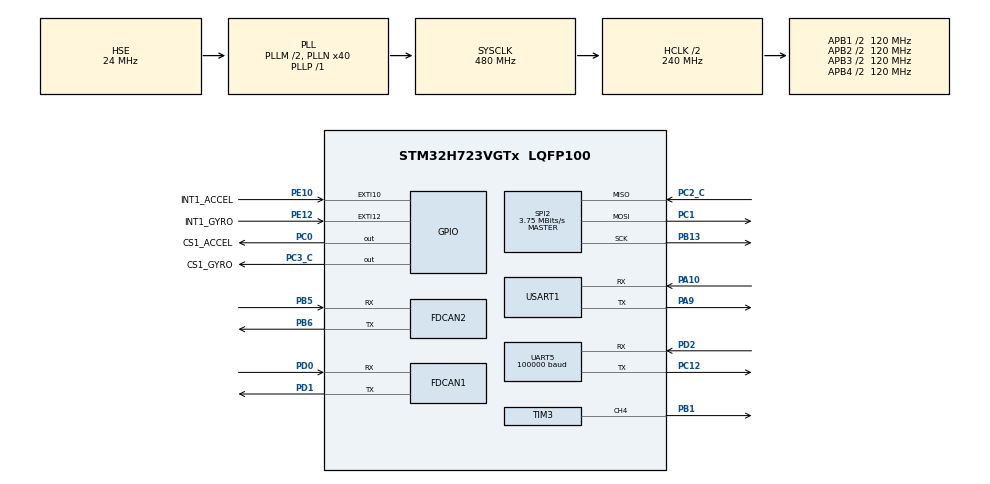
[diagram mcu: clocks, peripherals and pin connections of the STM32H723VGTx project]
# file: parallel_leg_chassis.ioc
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CORTEX_M7.default_mode_Activation=0
Dma.Request0=UART5_RX
Dma.Request1=USART1_RX
Dma.Request2=USART1_TX
Dma.UART5_RX.0.Direction=DMA_PERIPH_TO_MEMORY
Dma.UART5_RX.0.EventEnable=DISABLE
Dma.UART5_RX.0.FIFOMode=DMA_FIFOMODE_DISABLE
Dma.UART5_RX.0.Instance=DMA1_Stream3
Dma.UART5_RX.0.MemDataAlignment=DMA_MDATAALIGN_BYTE
Dma.UART5_RX.0.MemInc=DMA_MINC_ENABLE
Dma.UART5_RX.0.Mode=DMA_NORMAL
Dma.UART5_RX.0.PeriphDataAlignment=DMA_PDATAALIGN_BYTE
Dma.UART5_RX.0.PeriphInc=DMA_PINC_DISABLE
Dma.UART5_RX.0.Polarity=HAL_DMAMUX_REQ_GEN_RISING
Dma.UART5_RX.0.Priority=DMA_PRIORITY_VERY_HIGH
Dma.UART5_RX.0.RequestNumber=1
Dma.UART5_RX.0.SignalID=NONE
Dma.UART5_RX.0.SyncEnable=DISABLE
Dma.UART5_RX.0.SyncPolarity=HAL_DMAMUX_SYNC_NO_EVENT
Dma.UART5_RX.0.SyncRequestNumber=1
Dma.UART5_RX.0.SyncSignalID=NONE
Dma.USART1_RX.1.Direction=DMA_PERIPH_TO_MEMORY
Dma.USART1_RX.1.EventEnable=DISABLE
Dma.USART1_RX.1.FIFOMode=DMA_FIFOMODE_DISABLE
Dma.USART1_RX.1.Instance=DMA1_Stream1
Dma.USART1_RX.1.MemDataAlignment=DMA_MDATAALIGN_BYTE
Dma.USART1_RX.1.MemInc=DMA_MINC_ENABLE
Dma.USART1_RX.1.Mode=DMA_NORMAL
Dma.USART1_RX.1.PeriphDataAlignment=DMA_PDATAALIGN_BYTE
Dma.USART1_RX.1.PeriphInc=DMA_PINC_DISABLE
Dma.USART1_RX.1.Polarity=HAL_DMAMUX_REQ_GEN_RISING
Dma.USART1_RX.1.Priority=DMA_PRIORITY_MEDIUM
Dma.USART1_RX.1.RequestNumber=1
Dma.USART1_RX.1.SignalID=NONE
Dma.USART1_RX.1.SyncEnable=DISABLE
Dma.USART1_RX.1.SyncPolarity=HAL_DMAMUX_SYNC_NO_EVENT
Dma.USART1_RX.1.SyncRequestNumber=1
Dma.USART1_RX.1.SyncSignalID=NONE
Dma.USART1_TX.2.Direction=DMA_MEMORY_TO_PERIPH
Dma.USART1_TX.2.EventEnable=DISABLE
Dma.USART1_TX.2.FIFOMode=DMA_FIFOMODE_DISABLE
Dma.USART1_TX.2.Instance=DMA1_Stream2
Dma.USART1_TX.2.MemDataAlignment=DMA_MDATAALIGN_BYTE
Dma.USART1_TX.2.MemInc=DMA_MINC_ENABLE
Dma.USART1_TX.2.Mode=DMA_NORMAL
Dma.USART1_TX.2.PeriphDataAlignment=DMA_PDATAALIGN_BYTE
Dma.USART1_TX.2.PeriphInc=DMA_PINC_DISABLE
Dma.USART1_TX.2.Polarity=HAL_DMAMUX_REQ_GEN_RISING
Dma.USART1_TX.2.Priority=DMA_PRIORITY_MEDIUM
Dma.USART1_TX.2.RequestNumber=1
Dma.USART1_TX.2.SignalID=NONE
Dma.USART1_TX.2.SyncEnable=DISABLE
Dma.USART1_TX.2.SyncPolarity=HAL_DMAMUX_SYNC_NO_EVENT
Dma.USART1_TX.2.SyncRequestNumber=1
Dma.USART1_TX.2.SyncSignalID=NONE
FDCAN1.AutoRetransmission=ENABLE
FDCAN1.CalculateBaudRateNominal=1000000
FDCAN1.CalculateTimeBitNominal=1000
FDCAN1.CalculateTimeQuantumNominal=25.0
FDCAN1.DataPrescaler=3
FDCAN1.DataSyncJumpWidth=10
FDCAN1.DataTimeSeg1=29
FDCAN1.DataTimeSeg2=10
FDCAN1.ExtFiltersNbr=4
FDCAN1.NominalPrescaler=3
FDCAN1.NominalSyncJumpWidth=10
FDCAN1.NominalTimeSeg1=29
FDCAN1.NominalTimeSeg2=10
FDCAN1.ProtocolException=ENABLE
FDCAN1.RxBuffersNbr=2
FDCAN1.RxFifo0ElmtsNbr=8
FDCAN1.RxFifo1ElmtsNbr=8
FDCAN1.StdFiltersNbr=4
FDCAN1.TxBuffersNbr=8
FDCAN1.TxEventsNbr=8
FDCAN1.TxFifoQueueElmtsNbr=8
FDCAN2.AutoRetransmission=ENABLE
FDCAN2.CalculateBaudRateNominal=1000000
FDCAN2.CalculateTimeBitNominal=1000
FDCAN2.CalculateTimeQuantumNominal=25.0
FDCAN2.DataPrescaler=3
FDCAN2.DataSyncJumpWidth=10
FDCAN2.DataTimeSeg1=29
FDCAN2.DataTimeSeg2=10
FDCAN2.ExtFiltersNbr=4
FDCAN2.MessageRAMOffset=853
FDCAN2.NominalPrescaler=3
FDCAN2.NominalSyncJumpWidth=10
FDCAN2.NominalTimeSeg1=29
FDCAN2.NominalTimeSeg2=10
FDCAN2.ProtocolException=ENABLE
FDCAN2.RxBuffersNbr=2
FDCAN2.RxFifo0ElmtsNbr=8
FDCAN2.RxFifo1ElmtsNbr=8
FDCAN2.StdFiltersNbr=4
FDCAN2.TxBuffersNbr=8
FDCAN2.TxEventsNbr=8
FDCAN2.TxFifoQueueElmtsNbr=8
Mcu.Family=STM32H7
Mcu.Name=STM32H723VGTx
Mcu.Package=LQFP100
NVIC.DMA1_Stream1_IRQn=true\:0\:0\:false\:false\:true\:false\:true\:true
NVIC.DMA1_Stream2_IRQn=true\:0\:0\:false\:false\:true\:false\:true\:true
NVIC.DMA1_Stream3_IRQn=true\:0\:0\:false\:false\:true\:false\:true\:true
NVIC.FDCAN1_IT0_IRQn=true\:0\:0\:false\:false\:true\:true\:true\:true
NVIC.FDCAN1_IT1_IRQn=true\:0\:0\:false\:false\:true\:true\:true\:true
NVIC.FDCAN2_IT0_IRQn=true\:0\:0\:false\:false\:true\:true\:true\:true
NVIC.FDCAN2_IT1_IRQn=true\:0\:0\:false\:false\:true\:true\:true\:true
NVIC.PriorityGroup=NVIC_PRIORITYGROUP_4
NVIC.TIM2_IRQn=true\:15\:0\:false\:false\:true\:false\:true\:true
NVIC.TimeBase=TIM2_IRQn
NVIC.TimeBaseIP=TIM2
NVIC.UART5_IRQn=true\:0\:0\:false\:false\:true\:true\:true\:true
NVIC.USART1_IRQn=true\:5\:0\:true\:false\:true\:true\:true\:true
PA10.Mode=Asynchronous
PA10.Signal=USART1_RX
PA9.Mode=Asynchronous
PA9.Signal=USART1_TX
PB1.GPIO_Speed=GPIO_SPEED_FREQ_HIGH
PB1.Signal=S_TIM3_CH4
PB13.GPIO_Speed=GPIO_SPEED_FREQ_MEDIUM
PB13.Mode=Full_Duplex_Master
PB13.Signal=SPI2_SCK
PB5.Mode=FDCAN_Activate
PB5.Signal=FDCAN2_RX
PB6.Mode=FDCAN_Activate
PB6.Signal=FDCAN2_TX
PC0.GPIO_Label=CS1_ACCEL
PC0.GPIO_PuPd=GPIO_NOPULL
PC0.GPIO_Speed=GPIO_SPEED_FREQ_VERY_HIGH
PC0.PinState=GPIO_PIN_SET
PC0.Signal=GPIO_Output
PC1.GPIO_Speed=GPIO_SPEED_FREQ_MEDIUM
PC1.Mode=Full_Duplex_Master
PC1.Signal=SPI2_MOSI
PC12.Mode=Asynchronous
PC12.Signal=UART5_TX
PC2_C.GPIO_Speed=GPIO_SPEED_FREQ_MEDIUM
PC2_C.Mode=Full_Duplex_Master
PC2_C.Signal=SPI2_MISO
PC3_C.GPIO_Label=CS1_GYRO
PC3_C.GPIO_PuPd=GPIO_NOPULL
PC3_C.GPIO_Speed=GPIO_SPEED_FREQ_VERY_HIGH
PC3_C.PinState=GPIO_PIN_SET
PC3_C.Signal=GPIO_Output
PD0.GPIO_Speed=GPIO_SPEED_FREQ_VERY_HIGH
PD0.Mode=FDCAN_Activate
PD0.Signal=FDCAN1_RX
PD1.GPIO_Speed=GPIO_SPEED_FREQ_VERY_HIGH
PD1.Mode=FDCAN_Activate
PD1.Signal=FDCAN1_TX
PD2.Mode=Asynchronous
PD2.Signal=UART5_RX
PE10.GPIO_Label=INT1_ACCEL
PE10.GPIO_PuPd=GPIO_PULLUP
PE10.Signal=GPXTI10
PE12.GPIO_Label=INT1_GYRO
PE12.GPIO_PuPd=GPIO_PULLUP
PE12.Signal=GPXTI12
PH0-OSC_IN.Mode=HSE-External-Oscillator
PH0-OSC_IN.Signal=RCC_OSC_IN
PH1-OSC_OUT.Mode=HSE-External-Oscillator
PH1-OSC_OUT.Signal=RCC_OSC_OUT
ProjectManager.HeapSize=0x200
ProjectManager.StackSize=0x400
ProjectManager.TargetToolchain=CMake
RCC.ADCFreq_Value=48375000
RCC.APB1Freq_Value=120000000
RCC.APB2Freq_Value=120000000
RCC.APB3Freq_Value=120000000
RCC.APB4Freq_Value=120000000
RCC.CortexFreq_Value=480000000
RCC.D1PPRE=RCC_APB3_DIV2
RCC.D2PPRE1=RCC_APB1_DIV2
RCC.D2PPRE2=RCC_APB2_DIV2
RCC.D3PPRE=RCC_APB4_DIV2
RCC.DIVM1=2
RCC.DIVN1=40
RCC.DIVP1=1
RCC.DIVQ1=4
RCC.HCLKFreq_Value=240000000
RCC.HPRE=RCC_HCLK_DIV2
RCC.HSE_VALUE=24000000
RCC.PLLFRACN=0
RCC.PLLSourceVirtual=RCC_PLLSOURCE_HSE
RCC.SYSCLKFreq_VALUE=480000000
RCC.SYSCLKSource=RCC_SYSCLKSOURCE_PLLCLK
RCC.USBFreq_Value=120000000
SH.S_TIM3_CH4.0=TIM3_CH4,PWM Generation4 CH4
SPI2.BaudRatePrescaler=SPI_BAUDRATEPRESCALER_32
SPI2.CLKPhase=SPI_PHASE_2EDGE
SPI2.CLKPolarity=SPI_POLARITY_HIGH
SPI2.CalculateBaudRate=3.75 MBits/s
SPI2.DataSize=SPI_DATASIZE_8BIT
SPI2.Direction=SPI_DIRECTION_2LINES
SPI2.Mode=SPI_MODE_MASTER
SPI2.VirtualType=VM_MASTER
STMicroelectronics.X-CUBE-ALGOBUILD.1.3.0.LibraryCcDSPOoLibraryJjDSPOoLibrary=true
TIM3.Channel-PWM\ Generation4\ CH4=TIM_CHANNEL_4
TIM3.Period=9999
TIM3.Prescaler=23
UART5.BaudRate=100000
UART5.Mode=MODE_RX
UART5.Parity=PARITY_EVEN
UART5.StopBits=UART_STOPBITS_2
UART5.WordLength=WORDLENGTH_9B
USART1.VirtualMode-Asynchronous=VM_ASYNC
VP_MEMORYMAP_VS_MEMORYMAP.Mode=CurAppReg
VP_STMicroelectronics.X-CUBE-ALGOBUILD_VS_DSPOoLibraryJjLibrary_1.3.0_1.3.0.Mode=DSPOoLibraryJjLibrary
VP_SYS_VS_tim2.Mode=TIM2
VP_TIM3_VS_ClockSourceINT.Mode=Internal
board=custom

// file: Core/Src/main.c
/* USER CODE BEGIN Header */
/**
  ******************************************************************************
  * @file           : main.c
  * @brief          : Main program body
  ******************************************************************************
  * @attention
  *
  * Copyright (c) 2025 STMicroelectronics.
  * All rights reserved.
  *
  * This software is licensed under terms that can be found in the LICENSE file
  * in the root directory of this software component.
  * If no LICENSE file comes with this software, it is provided AS-IS.
  *
  ******************************************************************************
  */
/* USER CODE END Header */
#include "main.h"
#include "dma.h"
#include "fdcan.h"
#include "spi.h"
#include "tim.h"
#include "usart.h"
#include "gpio.h"

/* USER CODE BEGIN Includes */
#include <string.h>
#include "bsp_uart.h"
#include "bsp_can.h"
#include "bsp_dwt.h"
#include "pid.h"
#include "dji_motor_ctrl.h"
#include "dm_motor_ctrl.h"
#include "imu_task.h"
#include "chassis_ctrl.h"
#include "remote_ctrl.h"

/* USER CODE END Includes */

/* USER CODE BEGIN PTD */
extern float gyro[3], accel[3], temp;

/* USER CODE END PTD */

void SystemClock_Config(void);

/* USER CODE BEGIN 0 */
float dt = 0.001f;
uint32_t main_count = 0;
uint32_t main_dwt_count = 0;
uint32_t imu_count = 0;
uint32_t imu_dwt_count = 0;
float task_time = 0;
float wait_time = 0;
float imu_task_time = 0;
float imu_wait_time = 0;

double l_phi1;
double l_phi2;
double r_phi1;
double r_phi2;
double l_d_phi1;
double l_d_phi2;
double r_d_phi1;
double r_d_phi2;
double l_t1;
double l_t2;
double r_t1;
double r_t2;

double last_lws;
double last_rws;
double s;

float vel_cmd;
float yaw_cmd;
float roll_cmd;
float leg_length_cmd;
uint8_t enable_cmd;
uint8_t state_cmd;

void uart1_callback_function()
{
  bsp_uart_send(&huart1, UART1_Rx_Buff, 256);
}

void uart5_callback_function()
{
  rc_ctrl_fbdata(&rc_ctrl, UART5_Rx_Buff);
}
/* USER CODE END 0 */

int main(void)
{

  /* MCU Configuration--------------------------------------------------------*/

  /* Reset of all peripherals, Initializes the Flash interface and the Systick. */
  HAL_Init();

  /* Configure the system clock */
  SystemClock_Config();

  /* Initialize all configured peripherals */
  MX_GPIO_Init();
  MX_DMA_Init();
  MX_FDCAN1_Init();
  MX_UART5_Init();
  MX_USART1_UART_Init();
  MX_SPI2_Init();
  MX_FDCAN2_Init();
  MX_TIM3_Init();
  /* USER CODE BEGIN 2 */
  DWT_Init(480);
  bsp_uart_init(&huart1, UART1_Rx_Buff, 256, uart1_callback_function);
  bsp_uart_init(&huart5, UART5_Rx_Buff, 256, uart5_callback_function);
  UART1_Tx_Data[0] = 0xAB;
  BMI088_init();
  bsp_can_init();
  INS_init();
  leg_controller_init(&leg_l, &leg_r, &leg_jl, &leg_jr, &k);
  // 机体速度预测，打滑检测
  velocity_kf_init(1.0f, 5000.0f, 100.0f);

  DM8009_init(&DM8009_1, &hfdcan1, TO4_MODE, 0x3FE, 0x301, -2.0795648111053424, 0.01, 1);
  DM8009_init(&DM8009_2, &hfdcan1, TO4_MODE, 0x3FE, 0x302, -2.1555061302862457, 0.01, 2);
  DM8009_init(&DM8009_3, &hfdcan1, TO4_MODE, 0x3FE, 0x303, -1.0547405441792126, 0.01, 3);
  DM8009_init(&DM8009_4, &hfdcan1, TO4_MODE, 0x3FE, 0x304, -2.0511827019165203, 0.01, 4);
  M3508_init(&M3508_1, 1, 268.0 / 17.0, 0.02, 5);
  M3508_init(&M3508_2, 2, 268.0 / 17.0, 0.02, 6);
  rc_ctrl_init(&rc_ctrl, 0.3, 7);

  // 等待imu温度达到目标
  while (imu_count < 10000)
  {
    imu_temp_ctrl(40.0f);
    if (temp >= 40.0f)
      imu_count ++;
    imu_task_time = DWT_GetDeltaT(&imu_dwt_count);
    imu_wait_time = dt - imu_task_time;
    DWT_Delay(imu_wait_time);
  }

  /* USER CODE END 2 */

  /* Infinite loop */
  while (1)
  {

    /* USER CODE BEGIN 3 */
    // 1000Hz循环
    DWT_GetDeltaT(&main_dwt_count);

    // 接收遥控器命令
    state_cmd = rc_ctrl.rc.s[0];  // 右拨杆s2
    enable_cmd = rc_ctrl.rc.s[1]; // 左拨杆s1

    vel_cmd = rc_ctrl.rc.ch[3] * 0.01f;
    if (vel_cmd > 5.0f)
      vel_cmd = 5.0f;
    else if (vel_cmd < - 5.0f)
      vel_cmd = - 5.0f;

    //左腿路程计算
    double lws = M3508_1.m.para.pos_fb;
    double delta_lws = lws - last_lws;
    //跨越编码器零点处理
    if (delta_lws < -PI)
      delta_lws += 2 * PI;
    else if (delta_lws > PI)
      delta_lws -= 2 * PI;
    double delta_ls = - delta_lws / (M3508_1.speed_ratio) * rw;
    last_lws = lws;
    //右腿路程计算
    double rws = M3508_2.m.para.pos_fb;
    double delta_rws = rws - last_rws;
    //跨越编码器零点处理
    if (delta_rws < -PI)
      delta_rws += 2 * PI;
    else if (delta_rws > PI)
      delta_rws -= 2 * PI;
    double delta_rs = delta_rws / (M3508_2.speed_ratio) * rw;
    last_rws = rws;
    s = (delta_ls + delta_rs) / 2;

    yaw_cmd = - rc_ctrl.rc.ch[0] * 0.02f;
    if (yaw_cmd > 8.0f)
      yaw_cmd = 8.0f;
    else if (yaw_cmd < - 8.0f)
      yaw_cmd = - 8.0f;

    leg_length_cmd = rc_ctrl.rc.ch[1] * 0.0005f;
    if (leg_length_cmd > 0.15f)
      leg_length_cmd = 0.15f;
    else if (leg_length_cmd < -0.08f)
      leg_length_cmd = -0.08f;

    roll_cmd = rc_ctrl.rc.ch[2] * 0.001f;
    if (roll_cmd > 0.5f)
      roll_cmd = 0.5f;
    else if (roll_cmd < -0.5f)
      roll_cmd = -0.5f;

    rc_ctrl_refresh(&rc_ctrl);

    // 关节电机反馈数据处理
    l_phi1 = (5.0f * PI / 4.0f) - DM8009_1.m.para.pos_fb;
    l_phi2 = (5.0f * PI / 4.0f) + DM8009_2.m.para.pos_fb;
    r_phi1 = (5.0f * PI / 4.0f) + DM8009_3.m.para.pos_fb;
    r_phi2 = (5.0f * PI / 4.0f) - DM8009_4.m.para.pos_fb;
    l_d_phi1 = - DM8009_1.m.para.vel_fb;
    l_d_phi2 = DM8009_2.m.para.vel_fb;
    r_d_phi1 = DM8009_3.m.para.vel_fb;
    r_d_phi2 = - DM8009_4.m.para.vel_fb;
    l_t1 = - DM8009_1.m.para.tor_fb;
    l_t2 = DM8009_2.m.para.tor_fb;
    r_t1 = DM8009_3.m.para.tor_fb;
    r_t2 = - DM8009_4.m.para.tor_fb;

    // 姿态解算
    imu_task(dt);
    // 腿部运动学、支持力解算与机体速度卡尔曼滤波
    plc_obs(l_phi1, l_phi2, r_phi1, r_phi2, l_d_phi1, l_d_phi2, r_d_phi1, r_d_phi2, l_t1, l_t2, r_t1, r_t2, dt);

    k.Xd_data[1] = vel_cmd;
    k.Xd_data[2] += yaw_cmd * dt;
    k.Xd_data[3] = yaw_cmd;

    switch (enable_cmd)
    {
      // 左拨杆：上1 中3 下2
      case 1:
        plc_handler3(&leg_l, &leg_r, &leg_tl, &leg_tr, &leg_jl, &leg_jr);
        break;
      case 3:
        switch (state_cmd)
        {
          // 右拨杆：上1 中3 下2
        case 1: // 飞坡模式
            if (leg_l.Fi > - 7.0f || leg_r.Fi > - 7.0f)
              // 离地处理
              plc_handler4(&leg_l, &leg_r, &leg_tl, &leg_tr, &leg_jl, &leg_jr, INS.Roll, dt);
            else
              plc_handler1(&leg_l, &leg_r, &leg_tl, &leg_tr, &leg_jl, &leg_jr, &k,
                          INS.YawTotalAngle, INS.Gyro[2], INS.Roll, INS.Gyro[1], INS.Pitch, INS.Gyro[0], dt);
            break;
        case 3: // 无位移闭环站立模式
            if (leg_l.Fi > - 7.0f || leg_r.Fi > - 7.0f)
              plc_handler4(&leg_l, &leg_r, &leg_tl, &leg_tr, &leg_jl, &leg_jr, INS.Roll, dt);
            else
              plc_handler2(&leg_l, &leg_r, &leg_tl, &leg_tr, &leg_jl, &leg_jr, &k,
                          INS.YawTotalAngle, INS.Gyro[2], INS.Roll, INS.Gyro[1], INS.Pitch, INS.Gyro[0], dt);
            break;
        case 2: // 跳跃模式
            if (leg_l.Fi > - 7.0f || leg_r.Fi > - 7.0f)
              plc_handler5(&leg_l, &leg_r, &leg_tl, &leg_tr, &leg_jl, &leg_jr, INS.Roll, dt);
            else
              plc_handler2(&leg_l, &leg_r, &leg_tl, &leg_tr, &leg_jl, &leg_jr, &k,
                          INS.YawTotalAngle, INS.Gyro[2], INS.Roll, INS.Gyro[1], INS.Pitch, INS.Gyro[0], dt);
            break;
        }
    }

    M3508_cmd_upgrade(&M3508_1, - leg_tl.Tw);
    M3508_cmd_upgrade(&M3508_2, leg_tr.Tw);
    DM8009_cmd_upgrade(&DM8009_1, - leg_tl.T1);
    DM8009_cmd_upgrade(&DM8009_2, leg_tl.T2);
    DM8009_cmd_upgrade(&DM8009_3, leg_tr.T1);
    DM8009_cmd_upgrade(&DM8009_4, - leg_tr.T2);

    dji_motor_cmd_send(0x200, &hfdcan2, M3508_1.m.cmd.cmd_signal, M3508_2.m.cmd.cmd_signal, 0, 0);
    DM8009_send_1to4(0x3FE, &hfdcan1, DM8009_1.m.cmd.cmd_signal, DM8009_2.m.cmd.cmd_signal,
            DM8009_3.m.cmd.cmd_signal, DM8009_4.m.cmd.cmd_signal);

    // for (uint8_t i = 0; i < 4; i++)
    // {
    //     UART1_Tx_Data[i + 1] = *((uint8_t *)&INS.Accel[0] + i);
    //     UART1_Tx_Data[i + 5] = *((uint8_t *)&INS.Accel[1] + i);
    //     UART1_Tx_Data[i + 9] = *((uint8_t *)&INS.Accel[2] + i);
    //     UART1_Tx_Data[i + 13] = *((uint8_t *)&INS.temp + i);
    // }
    // bsp_uart_send(&huart1, UART1_Tx_Data, 17);

    task_time = DWT_GetDeltaT(&main_dwt_count);
    wait_time = dt - task_time;
    main_count ++;
    DWT_Delay(wait_time);
}
  /* USER CODE END 3 */
}

void SystemClock_Config(void)
{
  RCC_OscInitTypeDef RCC_OscInitStruct = {0};
  RCC_ClkInitTypeDef RCC_ClkInitStruct = {0};

  /** Supply configuration update enable
  */
  HAL_PWREx_ConfigSupply(PWR_LDO_SUPPLY);

  /** Configure the main internal regulator output voltage
  */
  __HAL_PWR_VOLTAGESCALING_CONFIG(PWR_REGULATOR_VOLTAGE_SCALE0);

  while(!__HAL_PWR_GET_FLAG(PWR_FLAG_VOSRDY)) {}

  /** Initializes the RCC Oscillators according to the specified parameters
  * in the RCC_OscInitTypeDef structure.
  */
  RCC_OscInitStruct.OscillatorType = RCC_OSCILLATORTYPE_HSE;
  RCC_OscInitStruct.HSEState = RCC_HSE_ON;
  RCC_OscInitStruct.PLL.PLLState = RCC_PLL_ON;
  RCC_OscInitStruct.PLL.PLLSource = RCC_PLLSOURCE_HSE;
  RCC_OscInitStruct.PLL.PLLM = 2;
  RCC_OscInitStruct.PLL.PLLN = 40;
  RCC_OscInitStruct.PLL.PLLP = 1;
  RCC_OscInitStruct.PLL.PLLQ = 4;
  RCC_OscInitStruct.PLL.PLLR = 2;
  RCC_OscInitStruct.PLL.PLLRGE = RCC_PLL1VCIRANGE_3;
  RCC_OscInitStruct.PLL.PLLVCOSEL = RCC_PLL1VCOWIDE;
  RCC_OscInitStruct.PLL.PLLFRACN = 0;
  if (HAL_RCC_OscConfig(&RCC_OscInitStruct) != HAL_OK)
  {
    Error_Handler();
  }

  /** Initializes the CPU, AHB and APB buses clocks
  */
  RCC_ClkInitStruct.ClockType = RCC_CLOCKTYPE_HCLK|RCC_CLOCKTYPE_SYSCLK
                              |RCC_CLOCKTYPE_PCLK1|RCC_CLOCKTYPE_PCLK2
                              |RCC_CLOCKTYPE_D3PCLK1|RCC_CLOCKTYPE_D1PCLK1;
  RCC_ClkInitStruct.SYSCLKSource = RCC_SYSCLKSOURCE_PLLCLK;
  RCC_ClkInitStruct.SYSCLKDivider = RCC_SYSCLK_DIV1;
  RCC_ClkInitStruct.AHBCLKDivider = RCC_HCLK_DIV2;
  RCC_ClkInitStruct.APB3CLKDivider = RCC_APB3_DIV2;
  RCC_ClkInitStruct.APB1CLKDivider = RCC_APB1_DIV2;
  RCC_ClkInitStruct.APB2CLKDivider = RCC_APB2_DIV2;
  RCC_ClkInitStruct.APB4CLKDivider = RCC_APB4_DIV2;

  if (HAL_RCC_ClockConfig(&RCC_ClkInitStruct, FLASH_LATENCY_3) != HAL_OK)
  {
    Error_Handler();
  }
}

void HAL_TIM_PeriodElapsedCallback(TIM_HandleTypeDef *htim)
{
  if (htim->Instance == TIM2)
  {
    HAL_IncTick();
  }
}

void Error_Handler(void)
{
  __disable_irq();
  while (1)
  {
  }
}
